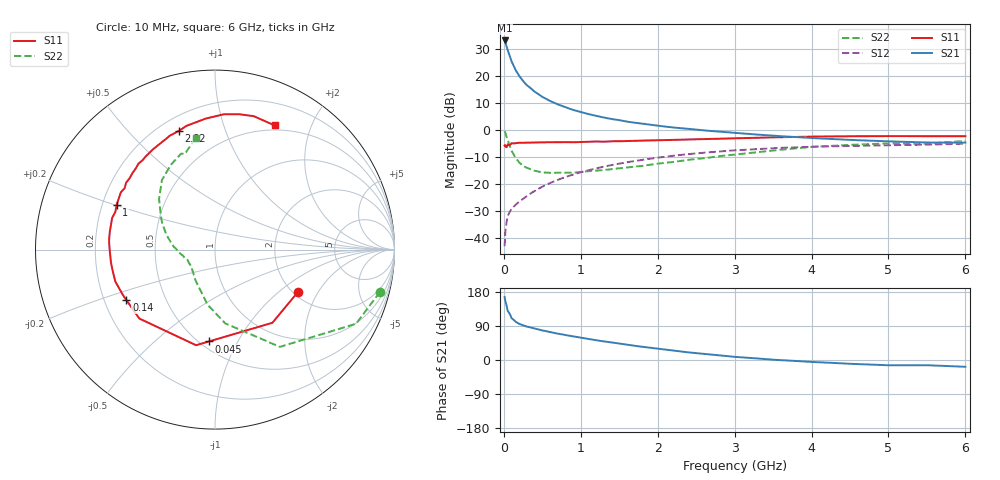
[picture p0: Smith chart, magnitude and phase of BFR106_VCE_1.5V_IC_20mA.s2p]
! Infineon Technologies  Discrete & RF Semiconductors
! BFR106
! VCE =  1.5 V,  IC =  20 mA
! Common Emitter S-Parameters:  Nov 2015
# GHz  S  MA  R  50
!  f  S11  S21  S12  S22
! GHz  MAG  ANG  MAG  ANG  MAG  ANG  MAG  ANG
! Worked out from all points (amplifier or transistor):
!   210 points, 10 MHz to 6 GHz, reference 50 ohm
!   highest |S21| = 33.0 dB at 10 MHz (marker M1)
!   |S21| within 3 dB of that: start of sweep to 43.93 MHz
!   unconditionally stable (mu >= 1): 355.9 MHz to 2.789 GHz; 4.596 GHz to end of sweep
!   at 185 MHz: K = 0.78, MSG = 23.7 dB, |S12| = -26.8 dB
!   at 1.52 GHz: K = 1.07, MAG = 6.2 dB, |S12| = -12.3 dB
!   at 6 GHz: K = 1.02, MAG = -0.7 dB, |S12| = -5.0 dB
!   S11 on the Smith chart (normalised r, x): 10 MHz: 2.10, -1.37; 45 MHz: 0.55, -0.77; 140 MHz: 0.29, -0.24; 1 GHz: 0.26, +0.20; 2.82 GHz: 0.28, +0.71; 6 GHz: 0.44, +1.50
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0.01  0.5183 -27.4  44.82 166.1  0.0072 81.3  0.9484 -14.4
0.02  0.5182 -51.9  41.6 154.6  0.0137 71.8  0.8882 -27.7
0.045  0.5131 -93.9  31.38 134.9  0.0238 56.0  0.6765 -50.3
0.05  0.5431 -101.2  29.96 129.5  0.0259 54.4  0.6514 -56.3
0.1  0.5705 -137.7  18.48 110.5  0.0352 49.3  0.415 -82.1
0.14  0.5682 -150.4  13.97 103.5  0.0402 49.7  0.329 -93.7
0.15  0.572 -153.6  12.89 101.0  0.0414 49.8  0.3103 -97.6
0.2  0.5832 -162.3  9.917 95.4  0.0475 53.4  0.2519 -107.1
0.24  0.5821 -167.3  8.353 92.1  0.0525 55.1  0.224 -114.5
0.3  0.5841 -172.8  6.69 88.0  0.0606 58.1  0.2006 -123.1
0.4  0.5869 -179.8  5.085 82.8  0.0749 60.9  0.1772 -133.7
0.6  0.5945 170.5  3.436 73.7  0.105 63.3  0.1621 -146.5
0.8  0.5997 162.9  2.62 65.9  0.1355 62.7  0.1632 -155.7
1  0.6022 155.6  2.139 58.9  0.1664 61.4  0.1678 -161.2
1.02  0.603 154.9  2.104 58.2  0.1694 61.2  0.169 -161.8
1.4  0.6199 143.1  1.593 46.4  0.2258 56.6  0.1896 -171.7
2.02  0.6475 126.2  1.191 29.2  0.3112 47.4  0.2411 173.0
2.82  0.6916 106.8  0.928 11.9  0.4036 34.4  0.3313 152.9
3.1  0.7107 101.3  0.862 6.9  0.4293 29.8  0.364 146.4
4.1  0.7569 85.0  0.7 -6.0  0.4953 14.6  0.4954 125.2
5.1  0.7722 72.7  0.612 -13.9  0.5261 2.4  0.5653 109.0
6  0.7675 64.4  0.585 -17.9  0.5599 -6.8  0.6299 99.9
